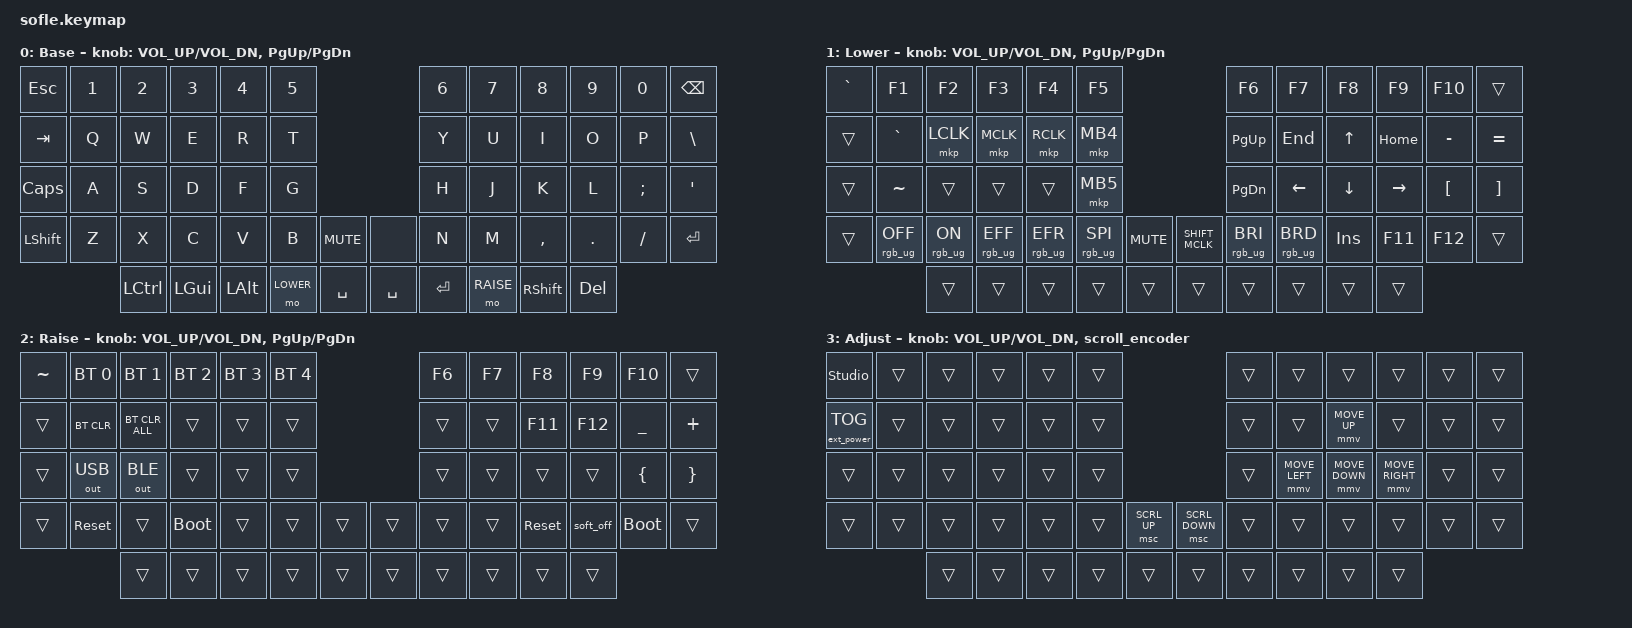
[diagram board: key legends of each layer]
/*
 * Copyright (c) 2020 The ZMK Contributors
 *
 * SPDX-License-Identifier: MIT
 */

/* Mouse move/scroll defaults, mirroring zmk-sofle. Must precede pointing.h.
 * 1200 / 25 are 2x ZMK's own defaults (600 / 10). */
#define ZMK_POINTING_DEFAULT_MOVE_VAL 1200
#define ZMK_POINTING_DEFAULT_SCRL_VAL 25

#include <behaviors.dtsi>
#include <dt-bindings/zmk/bt.h>
#include <dt-bindings/zmk/ext_power.h>
#include <dt-bindings/zmk/keys.h>
#include <dt-bindings/zmk/outputs.h>
#include <dt-bindings/zmk/pointing.h>
#include <dt-bindings/zmk/rgb.h>
#include <input/processors.dtsi>

/* Pointing tuning ported from zmk-sofle.
 * No extra scaling here: the move/scroll values above already double ZMK's
 * defaults, and the ADJUST layer binds &mmv / &msc to the mouse cluster. */
&mmv_input_listener { input-processors = <&zip_xy_scaler 1 1>; };

&msc_input_listener { input-processors = <&zip_scroll_scaler 1 1>; };

&msc {
    acceleration-exponent = <1>;
    time-to-max-speed-ms = <100>;
    delay-ms = <0>;
};

&mmv {
    time-to-max-speed-ms = <500>;
    acceleration-exponent = <1>;
    trigger-period-ms = <16>;
};

/* Require a 2 s hold so a stray tap cannot power the board off. */
&soft_off { hold-time-ms = <2000>; };

#define BASE 0
#define LOWER 1
#define RAISE 2
#define ADJUST 3

/ {
    /* Ported from zmk-sofle: used as the second encoder's binding on ADJUST. */
    scroll_encoder: scroll_encoder {
        compatible = "zmk,behavior-sensor-rotate";
        #sensor-binding-cells = <0>;
        bindings = <&msc SCRL_DOWN>, <&msc SCRL_UP>;

        tap-ms = <100>;
    };

    macros {
        /* Shift + middle click in one key. Bound on the Lower layer. */
        SHIFT_MCLK: SHIFT_MCLK {
            compatible = "zmk,behavior-macro";
            #binding-cells = <0>;
            bindings = <&macro_press>, <&kp LEFT_SHIFT>, <&macro_press>, <&mkp MB3>,
                       <&macro_pause_for_release>, <&macro_release>,
                       <&kp LEFT_SHIFT>, <&mkp MB3>;

            label = "SHIFT_MCLK";
        };
    };

    combos {
        compatible = "zmk,combos";

        /* Q + S + Z triggers soft off. These are the same physical keys as
         * zmk-sofle's <14 28 40>, translated to the Sofle matrix: Q=13, S=26, Z=37. */
        softoff {
            bindings = <&soft_off>;
            key-positions = <13 26 37>;
            timeout-ms = <50>;
        };
    };

    // Activate ADJUST layer by pressing raise and lower

    conditional_layers {
        compatible = "zmk,conditional-layers";

        adjust_layer {
            if-layers = <LOWER RAISE>;
            then-layer = <ADJUST>;
        };
    };

    keymap {
        compatible = "zmk,keymap";

        default_layer {
            display-name = "Base";

            // ------------------------------------------------------------------------------------------------------------
            // |   `   |  1  |  2  |  3   |  4   |  5   |                   |  6   |  7    |  8    |  9   |   0   |       |
            // |  ESC  |  Q  |  W  |  E   |  R   |  T   |                   |  Y   |  U    |  I    |  O   |   P   | BKSPC |
            // |  TAB  |  A  |  S  |  D   |  F   |  G   |                   |  H   |  J    |  K    |  L   |   ;   |   '   |
            // | SHIFT |  Z  |  X  |  C   |  V   |  B   |  MUTE  |  |       |  N   |  M    |  ,    |  .   |   /   | SHIFT |
            //         | CTRL | GUI | ALT | LOWER | SPACE |  | SPACE | ENTER | RAISE | SHIFT | DEL |

            bindings = <
&kp ESC    &kp N1  &kp N2     &kp N3        &kp N4        &kp N5                              &kp N6     &kp N7  &kp N8           &kp N9      &kp N0    &kp BACKSPACE
&kp TAB    &kp Q   &kp W      &kp E         &kp R         &kp T                               &kp Y      &kp U   &kp I            &kp O       &kp P     &kp BSLH
&kp CAPS   &kp A   &kp S      &kp D         &kp F         &kp G                               &kp H      &kp J   &kp K            &kp L       &kp SEMI  &kp APOS
&kp LSHFT  &kp Z   &kp X      &kp C         &kp V         &kp B      &kp C_MUTE    &none      &kp N      &kp M   &kp COMMA        &kp DOT     &kp FSLH  &kp ENTER
                   &kp LCTRL  &kp LEFT_GUI  &kp LEFT_ALT  &mo LOWER  &kp SPACE     &kp SPACE  &kp ENTER  &mo RAISE  &kp RIGHT_SHIFT  &kp DELETE
            >;

            sensor-bindings = <&inc_dec_kp C_VOL_UP C_VOL_DN &inc_dec_kp PG_UP PG_DN>;
        };

        lower_layer {
            display-name = "Lower";

            // TODO: Some binds are waiting for shifted keycode support.
            // ------------------------------------------------------------------------------------------------------------
            // |       |  F1 |  F2 |  F3  |  F4  |  F5  |                   |  F6  |  F7   |  F8   |  F9  |  F10  |  F11  |
            // |   `   |  1  |  2  |  3   |  4   |  5   |                   |  6   |  7    |  8    |  9   |   0   |  F12  |
            // |       |  !  |  @  |  #   |  $   |  %   |                   |  ^   |  &    |  *    |  (   |   )   |   |   |
            // |       |  =  |  -  |  +   |  {   |  }   |        |  |       |  [   |  ]    |  ;    |  :   |   \   |       |
            //               |     |      |      |      |        |  |       |      |       |       |      |

            bindings = <
&kp GRAVE  &kp F1           &kp F2          &kp F3           &kp F4           &kp F5                                 &kp F6           &kp F7           &kp F8    &kp F9     &kp F10           &trans
&trans     &kp GRAVE        &mkp LCLK       &mkp MCLK        &mkp RCLK        &mkp MB4                               &kp PG_UP        &kp END          &kp UP    &kp HOME   &kp MINUS         &kp EQUAL
&trans     &kp TILDE        &trans          &trans           &trans           &mkp MB5                               &kp PG_DN        &kp LEFT         &kp DOWN  &kp RIGHT  &kp LEFT_BRACKET  &kp RIGHT_BRACKET
&trans     &rgb_ug RGB_OFF  &rgb_ug RGB_ON  &rgb_ug RGB_EFF  &rgb_ug RGB_EFR  &rgb_ug RGB_SPI  &kp C_MUTE    &SHIFT_MCLK  &rgb_ug RGB_BRI  &rgb_ug RGB_BRD  &kp INS   &kp F11    &kp F12           &trans
                            &trans          &trans           &trans           &trans           &trans        &trans  &trans           &trans           &trans    &trans
            >;

            sensor-bindings = <&inc_dec_kp C_VOL_UP C_VOL_DN &inc_dec_kp PG_UP PG_DN>;
        };

        raise_layer {
            display-name = "Raise";

            // ------------------------------------------------------------------------------------------------------------
            // |   ~   | BT0  |  BT1  |  BT2  |  BT3  |  BT4 |                |  F6  |  F7  |  F8   |  F9  |  F10  |       |
            // |       | BTCLR| CLRALL|       |       |      |                |      |      |  F11  |  F12 |   _   |   +   |
            // |       | USB  |  BLE  |       |       |      |                |      |      |       |      |   [   |   ]   |
            // |       | RST  |       | BOOT  |       |      |        |  |     |      |      |  RST  | OFF  | BOOT  |       |
            //                |      |       |       |      |      |  |      |      |      |       |      |

            bindings = <
&kp TILDE  &bt BT_SEL 0  &bt BT_SEL 1    &bt BT_SEL 2  &bt BT_SEL 3  &bt BT_SEL 4                    &kp F6  &kp F7  &kp F8      &kp F9     &kp F10      &trans
&trans     &bt BT_CLR    &bt BT_CLR_ALL  &trans        &trans        &trans                          &trans  &trans  &kp F11     &kp F12    &kp UNDER    &kp PLUS
&trans     &out OUT_USB  &out OUT_BLE    &trans        &trans        &trans                          &trans  &trans  &trans      &trans     &kp LBRC     &kp RBRC
&trans     &sys_reset    &trans          &bootloader   &trans        &trans        &trans    &trans  &trans  &trans  &sys_reset  &soft_off  &bootloader  &trans
                         &trans          &trans        &trans        &trans        &trans    &trans  &trans  &trans  &trans      &trans
            >;

            sensor-bindings = <&inc_dec_kp C_VOL_UP C_VOL_DN &inc_dec_kp PG_UP PG_DN>;
        };

        adjust_layer {
            // ADJUST is a conditional layer: hold LOWER + RAISE.
            //   top-left key (ESC position)    : ZMK Studio unlock
            //   row 2, col 1                   : ext-power toggle
            //   I / J K L                      : mouse move up / left, down, right
            //   encoder push switches (row 4)  : scroll up / down
            //   encoder 2 rotation             : scroll
            // Anything left as &trans falls through to LOWER / RAISE.

            display-name = "Adjust";
            bindings = <
&studio_unlock  &trans  &trans  &trans  &trans  &trans                    &trans  &trans  &trans  &trans  &trans  &trans
&ext_power EP_TOG  &trans  &trans  &trans  &trans  &trans  &trans  &trans  &mmv MOVE_UP  &trans  &trans  &trans
&trans  &trans  &trans  &trans  &trans  &trans  &trans  &mmv MOVE_LEFT  &mmv MOVE_DOWN  &mmv MOVE_RIGHT  &trans  &trans
&trans  &trans  &trans  &trans  &trans  &trans  &msc SCRL_UP    &msc SCRL_DOWN  &trans  &trans  &trans  &trans  &trans  &trans
                &trans  &trans  &trans  &trans  &trans    &trans  &trans  &trans  &trans  &trans
            >;

            // Second encoder scrolls the pointer while ADJUST is held; other
            // layers keep the original PageUp/PageDown binding.
            sensor-bindings = <&inc_dec_kp C_VOL_UP C_VOL_DN &scroll_encoder>;
        };
    };
};
